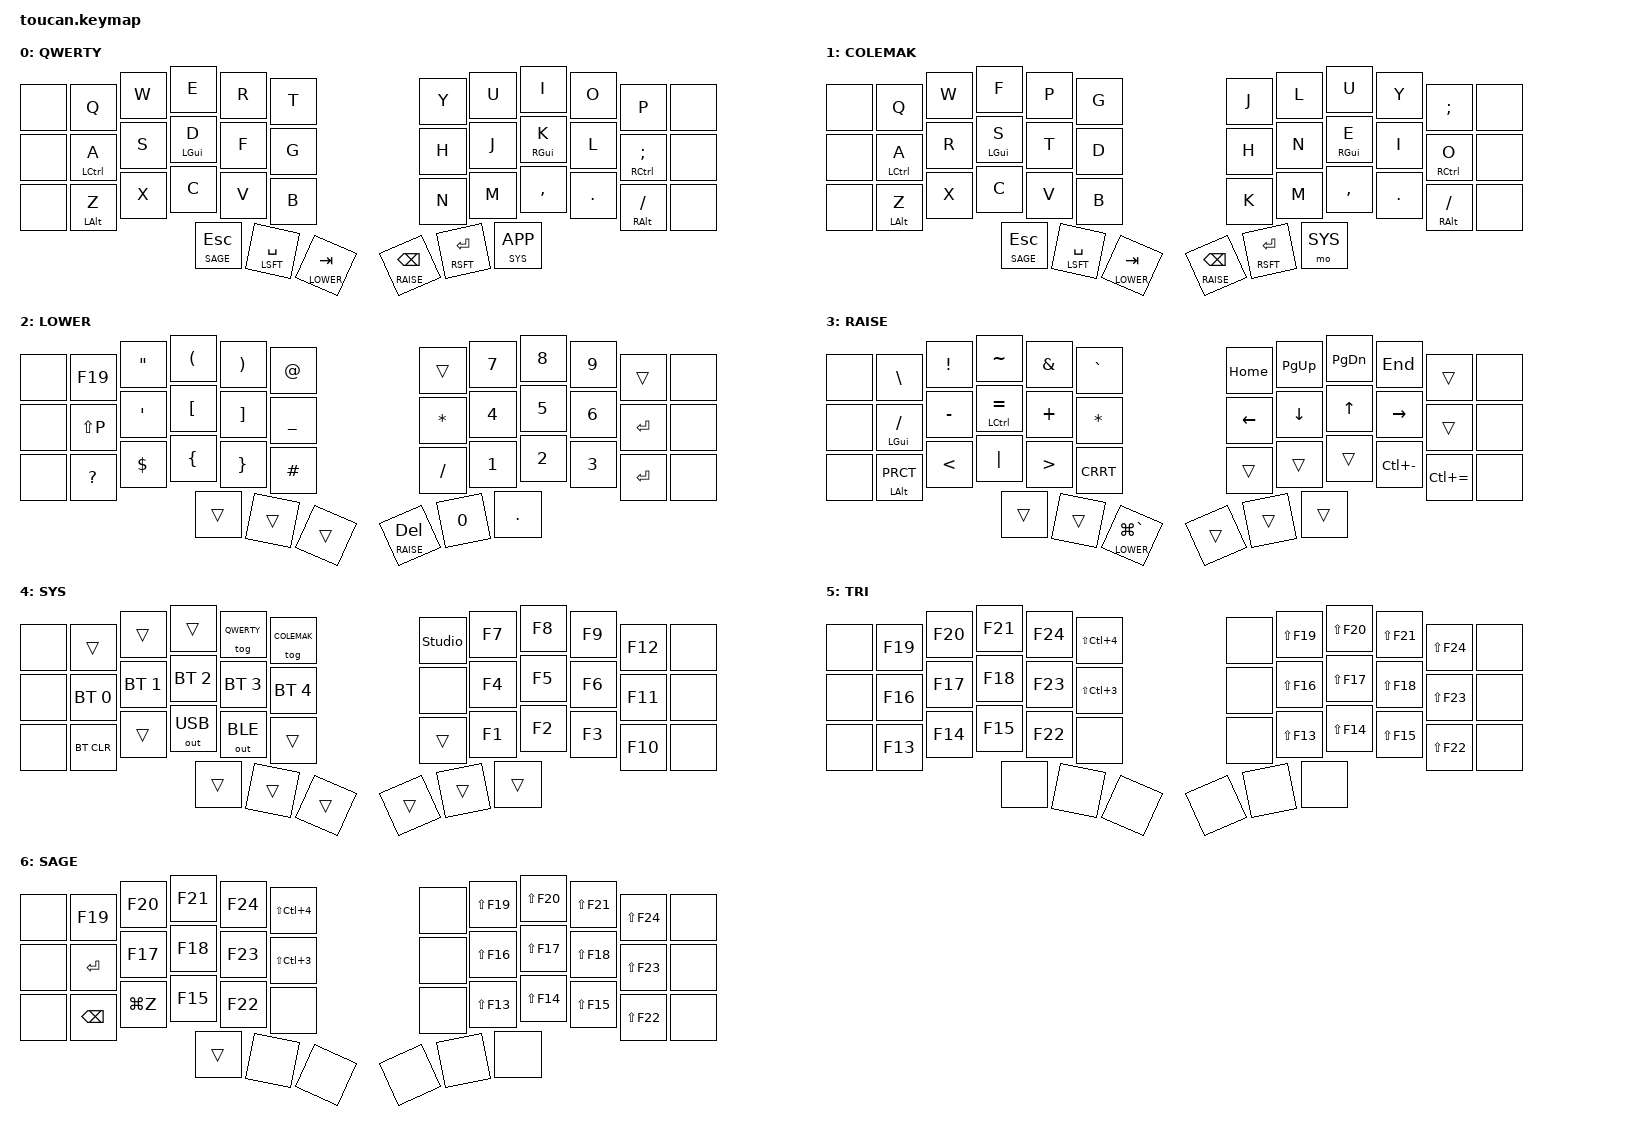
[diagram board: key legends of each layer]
/*
 * Copyright (c) 2020 The ZMK Contributors
 *
 * SPDX-License-Identifier: MIT
 */

/*
 * beekeeb Toucan2, 36-key variant.
 *
 * The 36-key Toucan2 is the same PCB as the 42-key with the outer pinky column
 * broken off, so the matrix and shield are unchanged and the two outer columns
 * are simply &none here. This keymap is config/corne.keymap ported over -- that
 * keymap already left both outer columns unbound, so every key lands in the
 * same place it did on the Corne.
 */

#include <behaviors.dtsi>
#include <dt-bindings/zmk/keys.h>
#include <dt-bindings/zmk/bt.h>
#include <dt-bindings/zmk/outputs.h>

#define QWERTY 0
#define COLEMAK 1
#define LOWER 2
#define RAISE 3
#define SYS 4
#define TRI 5
#define SAGE 6
/ {
        behaviors {
            hm: homerow_mods {
                label = "HOMEROW_MODS";
                compatible = "zmk,behavior-hold-tap";
                #binding-cells = <2>;
                flavor = "tap-preferred";
                tapping-term-ms = <200>;
                quick-tap-ms = <0>;
                bindings = <&kp>, <&kp>;
            };
        };

        conditional_layers {
                compatible = "zmk,conditional-layers";
                tri_layer {
                    if-layers = <LOWER RAISE>;
                    then-layer = <TRI>;
                };
        };

        keymap {
                compatible = "zmk,keymap";

                /*
                 * Default Layer: QWERTY
                 *
                 * ,-----------------------------.                ,-----------------------------.
                 * |    |  Q  |  W  |  E  |  R  |  T  |           |  Y  |  U  |  I  |  O  |  P  |    |
                 * |----+-----+-----+-----+-----+-----|           |-----+-----+-----+-----+-----+----|
                 * |    |A/GUI|  S  |D/CTL|  F  |  G  |           |  H  |  J  |K/CTL|  L  |;/GUI|    |
                 * |----+-----+-----+-----+-----+-----|           |-----+-----+-----+-----+-----+----|
                 * |    |Z/ALT|  X  |  C  |  V  |  B  |           |  N  |  M  |  ,  |  .  |//ALT|    |
                 * `-----------------+-----+-----+-----|           |-----+-----+-----+-----------------'
                 *                   | ESC |SPC/ | TAB |           | BKSP| RET | APP |
                 *                   |     |SHFT/|/LWR |           |/RSE |/SHFT|/SYS |
                 *                   `-----+-----+-----'           `-----+-----+-----'
                 *
                 * GUI = LGUI/RGUI
                 * CTL = LCTRL/RCTRL
                 * ALT = LALT/RALT
                 * LWR = LOWER layer
                 * RSE = RAISE layer
                 * SYS = SYS layer
                 *
                 * The leading and trailing &none on each row are the outer pinky
                 * columns, which do not exist on the 36-key Toucan2.
                 */

                default_layer {
                        display-name = "QWERTY";
                        bindings = <
   &none   &kp Q        &kp W       &kp E        &kp R       &kp T           &kp Y         &kp U       &kp I          &kp O       &kp P          &none
   &none   &hm LCTRL A  &kp S       &hm LGUI D  &kp F       &kp G            &kp H         &kp J       &hm RGUI K     &kp L       &hm RCTRL SCLN  &none
   &none   &hm LALT Z   &kp X       &kp C        &kp V       &kp B           &kp N         &kp M       &kp CMMA       &kp DOT     &hm RALT FSLH  &none
                        &lt SAGE ESC  &hm LSFT SPC &lt LOWER TAB               &lt RAISE BKSP &hm RSFT RET &lt SYS K_APP
                        >;
                };
                colemak_layer {
                        display-name = "COLEMAK";
                        bindings = <
   &none   &kp Q       &kp W       &kp F        &kp P       &kp G           &kp J         &kp L       &kp U          &kp Y       &kp SCLN       &none
   &none   &hm LCTRL A &kp R       &hm LGUI S    &kp T       &kp D           &kp H         &kp N       &hm RGUI E     &kp I       &hm RCTRL O     &none
   &none   &hm LALT Z  &kp X       &kp C        &kp V       &kp B           &kp K         &kp M       &kp CMMA       &kp DOT     &hm RALT FSLH  &none
                       &lt SAGE ESC  &hm LSFT SPC &lt LOWER TAB             &lt RAISE BKSP &hm RSFT RET &mo SYS
                        >;
                };

                lower_layer {
                        display-name = "LOWER";
                        bindings = <
   &none  &kp F19    &kp DQT    &kp LPAR    &kp RPAR   &kp AT         &trans  &kp N7     &kp N8        &kp N9     &trans        &none
   &none  &kp LS(P)  &kp SQT    &kp LBKT    &kp RBKT   &kp UNDER      &kp STAR &kp N4    &kp N5        &kp N6     &kp RET       &none
   &none  &kp QMARK  &kp DLLR   &kp LBRC    &kp RBRC   &kp HASH       &kp FSLH &kp N1    &kp N2        &kp N3     &kp RET       &none
                     &trans     &trans      &trans                    &lt RAISE DEL  &kp N0    &kp DOT
                        >;
                };

                raise_layer {
                        display-name = "RAISE";
                        bindings = <
   &none  &kp BSLH        &kp EXCL    &kp TILDE   &kp AMPS   &kp GRAVE      &kp HOME  &kp PG_UP  &kp PG_DN     &kp END        &trans     &none
   &none  &hm LGUI FSLH   &kp MINUS   &hm LCTRL EQL &kp PLUS &kp STAR       &kp LEFT  &kp DOWN   &kp UP        &kp RIGHT      &trans     &none
   &none  &hm LALT PRCT   &kp LT      &kp PIPE    &kp GT     &kp CRRT       &trans    &trans     &trans        &kp LC(MINUS)  &kp LC(EQL) &none
                          &trans      &trans      &lt LOWER LG(GRAVE)             &trans    &trans     &trans
                        >;
                };

                sys_layer {
                        display-name = "SYS";
                        bindings = <
   &none         &trans        &trans        &trans        &tog QWERTY   &tog COLEMAK   &studio_unlock &kp F7        &kp F8        &kp F9        &kp F12       &none
   &none         &bt BT_SEL 0  &bt BT_SEL 1  &bt BT_SEL 2  &bt BT_SEL 3  &bt BT_SEL 4   &none          &kp F4        &kp F5        &kp F6        &kp F11       &none
   &none         &bt BT_CLR    &trans        &out OUT_USB  &out OUT_BLE  &trans         &trans         &kp F1        &kp F2        &kp F3        &kp F10       &none
                               &trans        &trans        &trans                        &trans         &trans        &trans
                        >;
                };

                tri_layer {
                        display-name = "TRI";
                        bindings = <
   &none  &kp F19  &kp F20  &kp F21  &kp F24  &kp LS(LC(N4))  &none  &kp LS(F19)  &kp LS(F20)  &kp LS(F21)  &kp LS(F24)  &none
   &none  &kp F16  &kp F17  &kp F18  &kp F23  &kp LS(LC(N3))  &none  &kp LS(F16)  &kp LS(F17)  &kp LS(F18)  &kp LS(F23)  &none
   &none  &kp F13  &kp F14  &kp F15  &kp F22  &none           &none  &kp LS(F13)  &kp LS(F14)  &kp LS(F15)  &kp LS(F22)  &none
                   &none    &none    &none                     &none  &none        &none
                        >;
                };

                sage_layer {
                        display-name = "SAGE";
                        bindings = <
   &none  &kp F19  &kp F20    &kp F21  &kp F24  &kp LS(LC(N4))  &none  &kp LS(F19)  &kp LS(F20)  &kp LS(F21)  &kp LS(F24)  &none
   &none  &kp RET  &kp F17    &kp F18  &kp F23  &kp LS(LC(N3))  &none  &kp LS(F16)  &kp LS(F17)  &kp LS(F18)  &kp LS(F23)  &none
   &none  &kp BKSP &kp LG(Z)  &kp F15  &kp F22  &none           &none  &kp LS(F13)  &kp LS(F14)  &kp LS(F15)  &kp LS(F22)  &none
                   &trans      &none    &none                     &none  &none        &none
                        >;
                };

                /* Headroom for adding layers in ZMK Studio without reflashing. */
                extra_1 {
                        status = "reserved";
                };

                extra_2 {
                        status = "reserved";
                };
        };
};
